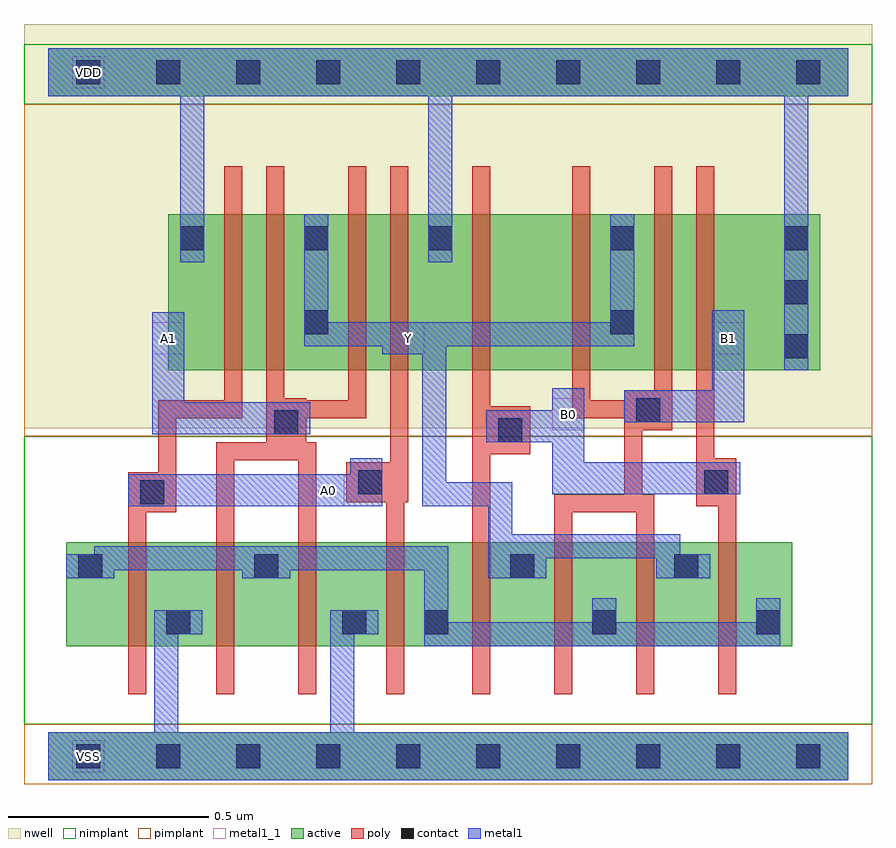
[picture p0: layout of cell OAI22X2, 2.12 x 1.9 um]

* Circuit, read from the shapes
.subckt OAI22X2 A0 A1 B0 B1 VDD VSS Y
M1 VSS A0 n1 VSS nfet w=0.26u l=0.045u m=2
M2 n1 A1 VSS VSS nfet w=0.26u l=0.045u m=2
M3 Y B0 n1 VSS nfet w=0.26u l=0.045u m=2
M4 n1 B1 Y VSS nfet w=0.26u l=0.045u m=2
M5 n2 A0 VDD VDD pfet w=0.39u l=0.045u
M6 Y A1 n2 VDD pfet w=0.39u l=0.045u
M7 n3 A1 Y VDD pfet w=0.39u l=0.045u
M8 VDD A0 n3 VDD pfet w=0.39u l=0.045u
M9 n4 B0 VDD VDD pfet w=0.39u l=0.045u
M10 Y B1 n4 VDD pfet w=0.39u l=0.045u
M11 n5 B1 Y VDD pfet w=0.39u l=0.045u
M12 VDD B0 n5 VDD pfet w=0.39u l=0.045u
.ends

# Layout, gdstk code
import gdstk
lib = gdstk.Library(unit=1e-6, precision=5e-10)
def R(c, l, rs):  # rectangles x0, y0, x1, y1
    for r in rs: c.add(gdstk.rectangle(r[:2], r[2:], *l))
def A(c, l, x, y, w, h, nx, ny, dx, dy):  # array of equal rectangles
    R(c, l, [(x+i*dx, y+j*dy, x+i*dx+w, y+j*dy+h) for i in range(nx) for j in range(ny)])
def P(c, l, *ps):  # polygons
    for p in ps: c.add(gdstk.Polygon(p, *l))
active = (1, 0)
nwell = (2, 0)
poly = (3, 0)
nimplant = (4, 0)
pimplant = (5, 0)
contact = (6, 0)
metal1 = (7, 0)
metal1_1 = (7, 1)

oai22x2 = lib.new_cell('OAI22X2')
R(oai22x2, active, [(0,-0.06,2,0.06), (0.045,0.275,1.86,0.535), (0.3,0.965,1.93,1.355), (0,1.65,2,1.77)])
R(oai22x2, nwell, [(-0.06,0.82,2.06,1.83)])
P(oai22x2, poly, [(0.44,1.475),(0.485,1.475),(0.485,0.845),(0.32,0.845),(0.32,0.61),(0.245,0.61),(0.245,0.155),(0.2,0.155),(0.2,0.71),(0.275,0.71),(0.275,0.89),(0.44,0.89)],
  [(0.545,1.475),(0.59,1.475),(0.59,0.895),(0.645,0.895),(0.645,0.89),(0.75,0.89),(0.75,1.475),(0.795,1.475),(0.795,0.845),(0.645,0.845),(0.645,0.785),(0.67,0.785),(0.67,0.155),(0.625,0.155),(0.625,0.74),(0.465,0.74),(0.465,0.155),(0.42,0.155),(0.42,0.785),(0.545,0.785)],
  [(0.855,1.475),(0.9,1.475),(0.9,0.635),(0.89,0.635),(0.89,0.155),(0.845,0.155),(0.845,0.635),(0.745,0.635),(0.745,0.735),(0.855,0.735)],
  [(1.06,1.475),(1.105,1.475),(1.105,0.875),(1.205,0.875),(1.205,0.755),(1.105,0.755),(1.105,0.155),(1.06,0.155)],
  [(1.31,1.475),(1.355,1.475),(1.355,0.89),(1.44,0.89),(1.44,0.915),(1.515,0.915),(1.515,1.475),(1.56,1.475),(1.56,0.815),(1.485,0.815),(1.485,0.655),(1.515,0.655),(1.515,0.155),(1.47,0.155),(1.47,0.61),(1.31,0.61),(1.31,0.155),(1.265,0.155),(1.265,0.655),(1.44,0.655),(1.44,0.845),(1.31,0.845)],
  [(1.62,1.475),(1.665,1.475),(1.665,0.745),(1.72,0.745),(1.72,0.155),(1.675,0.155),(1.675,0.625),(1.62,0.625)])
R(oai22x2, nimplant, [(-0.06,0.08,2.06,0.8), (-0.06,1.63,2.06,1.78)])
R(oai22x2, pimplant, [(-0.06,-0.07,2.06,0.08), (-0.06,0.8,2.06,1.63)])
A(oai22x2, contact, 0.07, -0.03, 0.06, 0.06, 10, 2, 0.2, 1.71)
A(oai22x2, contact, 1.84, 0.995, 0.06, 0.06, 1, 3, 0, 0.135)
A(oai22x2, contact, 0.33, 1.265, 0.06, 0.06, 3, 1, 0.31, 0)
R(oai22x2, contact, [(0.295,0.305,0.355,0.365), (0.735,0.305,0.795,0.365), (0.94,0.305,1,0.365), (1.36,0.305,1.42,0.365), (1.77,0.305,1.83,0.365), (0.075,0.445,0.135,0.505), (0.515,0.445,0.575,0.505), (1.155,0.445,1.215,0.505), (1.565,0.445,1.625,0.505), (0.23,0.63,0.29,0.69), (0.775,0.655,0.835,0.715), (1.64,0.655,1.7,0.715), (1.125,0.785,1.185,0.845), (0.565,0.805,0.625,0.865), (1.47,0.835,1.53,0.895), (0.64,1.055,0.7,1.115), (1.405,1.055,1.465,1.115), (1.405,1.265,1.465,1.325)])
P(oai22x2, metal1, [(0,1.77),(2,1.77),(2,1.65),(1.9,1.65),(1.9,0.965),(1.84,0.965),(1.84,1.65),(1.01,1.65),(1.01,1.235),(0.95,1.235),(0.95,1.65),(0.39,1.65),(0.39,1.235),(0.33,1.235),(0.33,1.65),(0,1.65)],
  [(0.64,1.355),(0.7,1.355),(0.7,1.085),(1.405,1.085),(1.405,1.355),(1.465,1.355),(1.465,1.025),(0.995,1.025),(0.995,0.685),(1.16,0.685),(1.16,0.555),(1.58,0.555),(1.58,0.505),(1.655,0.505),(1.655,0.445),(1.52,0.445),(1.52,0.495),(1.245,0.495),(1.245,0.445),(1.1,0.445),(1.1,0.625),(0.935,0.625),(0.935,1.005),(0.835,1.005),(0.835,1.025),(0.64,1.025)],
  [(0.26,1.11),(0.34,1.11),(0.34,0.885),(0.655,0.885),(0.655,0.805),(0.26,0.805)],
  [(1.66,1.115),(1.74,1.115),(1.74,0.835),(1.44,0.835),(1.44,0.915),(1.66,0.915)],
  [(0.755,0.745),(0.835,0.745),(0.835,0.625),(0.2,0.625),(0.2,0.705),(0.755,0.705)],
  [(1.26,0.92),(1.34,0.92),(1.34,0.735),(1.73,0.735),(1.73,0.655),(1.26,0.655),(1.26,0.785),(1.095,0.785),(1.095,0.865),(1.26,0.865)],
  [(0.115,0.525),(1,0.525),(1,0.335),(1.36,0.335),(1.36,0.395),(1.42,0.395),(1.42,0.335),(1.77,0.335),(1.77,0.395),(1.83,0.395),(1.83,0.275),(0.94,0.275),(0.94,0.465),(0.605,0.465),(0.605,0.445),(0.485,0.445),(0.485,0.465),(0.165,0.465),(0.165,0.445),(0.045,0.445),(0.045,0.505),(0.115,0.505)],
  [(0.265,0.365),(0.385,0.365),(0.385,0.305),(0.325,0.305),(0.325,0.06),(0.705,0.06),(0.705,0.365),(0.825,0.365),(0.825,0.305),(0.765,0.305),(0.765,0.06),(2,0.06),(2,-0.06),(0,-0.06),(0,0.06),(0.265,0.06)])
R(oai22x2, metal1_1, [(0.06,-0.04,0.14,0.04), (0.66,0.625,0.74,0.705), (1.26,0.815,1.34,0.895), (0.26,1.005,0.34,1.085), (0.86,1.005,0.94,1.085), (1.66,1.005,1.74,1.085), (0.06,1.67,0.14,1.75)])
oai22x2.add(gdstk.Label('Y', (0.9,1.045), layer=7, texttype=1))
oai22x2.add(gdstk.Label('A1', (0.3,1.045), layer=7, texttype=1))
oai22x2.add(gdstk.Label('B1', (1.7,1.045), layer=7, texttype=1))
oai22x2.add(gdstk.Label('A0', (0.7,0.665), layer=7, texttype=1))
oai22x2.add(gdstk.Label('B0', (1.3,0.855), layer=7, texttype=1))
oai22x2.add(gdstk.Label('VDD', (0.1,1.71), layer=7, texttype=1))
oai22x2.add(gdstk.Label('VSS', (0.1,0), layer=7, texttype=1))
oai22x2.add(gdstk.Label('OAI22X2', (0,0), layer=63, texttype=0))

lib.write_gds('OAI22X2.gds')
